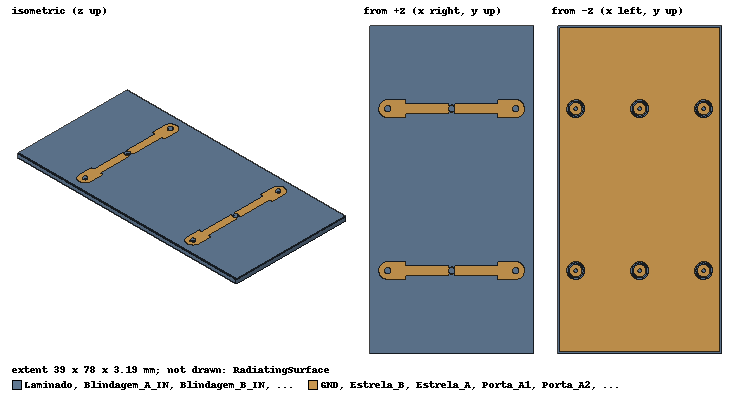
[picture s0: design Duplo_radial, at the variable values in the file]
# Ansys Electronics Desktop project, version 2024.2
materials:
  vacuum: permittivity=1
  ZYF255DA: permittivity=2.55 dielectric_loss_tangent=0.0018
  SAC305: permeability=1 conductivity=7575758
  PTFE_UT141: permittivity=2.036 dielectric_loss_tangent=0.0002
  copper: permeability=0.999991 conductivity=58000000

design Duplo_radial (HFSS, HFSS Hybrid Modal Network, model units mm)
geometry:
  Laminado [ZYF255DA] = box(corner=(-19.5mm, -39mm, 0mm), size=(39mm, 78mm, 1.52mm))
  GND = polyline(z=0mm, xy in mm: (-18.98, -38.48) (18.98, -38.48) (18.98, 38.48) (-18.98, 38.48) (-18.98, -38.48), closed, covered)
  Estrela_B = polyline(z=1.52mm, xy in mm: (-10.952, 21.3775) (-10.952, 20.4395) (-0.6, 20.4395) (-0.6, 19.86522572) (-0.52353483, 19.93228387) (-0.43, 19.99478185) (-0.32910775, 20.0445364) (-0.22258438, 20.08069621) (-0.11225253, 20.10264258) (0, 20.11) (0.11225253, 20.10264258) (0.22258438, 20.08069621) (0.32910775, 20.0445364) (0.43, 19.99478185) (0.52353483, 19.93228387) (0.6, 19.86522572) (0.6, 20.4395) (10.952, 20.4395) (10.952, 21.3775) (15.2, 21.3775) (15.47769447, 21.35929894) (15.75063752, 21.3050072) (16.014159, 21.21555371) (16.26375, 21.09246905) (16.49513994, 20.93785923) (16.70436968, 20.75436968) (16.88785923, 20.54513994) (17.04246905, 20.31375) (17.16555371, 20.064159) (17.2550072, 19.80063752) (17.30929894, 19.52769447) (17.3275, 19.25) (17.30929894, 18.97230553) (17.2550072, 18.69936248) (17.16555371, 18.435841) (17.04246905, 18.18625) (16.88785923, 17.95486006) (16.70436968, 17.74563032) (16.49513994, 17.56214077) (16.26375, 17.40753095) (16.014159, 17.28444629) (15.75063752, 17.1949928) (15.47769447, 17.14070106) (15.2, 17.1225) (10.952, 17.1225) (10.952, 18.0605) (0.6, 18.0605) (0.6, 18.63477428) (0.52353483, 18.56771613) (0.43, 18.50521815) (0.32910775, 18.4554636) (0.22258438, 18.41930379) (0.11225253, 18.39735742) (0, 18.39) (-0.11225253, 18.39735742) (-0.22258438, 18.41930379) (-0.32910775, 18.4554636) (-0.43, 18.50521815) (-0.52353483, 18.56771613) (-0.6, 18.63477428) (-0.6, 18.0605) (-10.952, 18.0605) (-10.952, 17.1225) (-15.2, 17.1225) (-15.47769447, 17.14070106) (-15.75063752, 17.1949928) (-16.014159, 17.28444629) (-16.26375, 17.40753095) (-16.49513994, 17.56214077) (-16.70436968, 17.74563032) (-16.88785923, 17.95486006) (-17.04246905, 18.18625) (-17.16555371, 18.435841) (-17.2550072, 18.69936248) (-17.30929894, 18.97230553) (-17.3275, 19.25) (-17.30929894, 19.52769447) (-17.2550072, 19.80063752) (-17.16555371, 20.064159) (-17.04246905, 20.31375) (-16.88785923, 20.54513994) (-16.70436968, 20.75436968) (-16.49513994, 20.93785923) (-16.26375, 21.09246905) (-16.014159, 21.21555371) (-15.75063752, 21.3050072) (-15.47769447, 21.35929894) (-15.2, 21.3775) (-15.2, 21.3775) (-10.952, 21.3775), closed, covered)
  Estrela_A = polyline(z=1.52mm, xy in mm: (-15.47769447, -21.35929894) (-15.75063752, -21.3050072) (-16.014159, -21.21555371) (-16.26375, -21.09246905) (-16.49513994, -20.93785923) (-16.70436968, -20.75436968) (-16.88785923, -20.54513994) (-17.04246905, -20.31375) (-17.16555371, -20.064159) (-17.2550072, -19.80063752) (-17.30929894, -19.52769447) (-17.3275, -19.25) (-17.30929894, -18.97230553) (-17.2550072, -18.69936248) (-17.16555371, -18.435841) (-17.04246905, -18.18625) (-16.88785923, -17.95486006) (-16.70436968, -17.74563032) (-16.49513994, -17.56214077) (-16.26375, -17.40753095) (-16.014159, -17.28444629) (-15.75063752, -17.1949928) (-15.47769447, -17.14070106) (-15.2, -17.1225) (-10.952, -17.1225) (-10.952, -18.0605) (-0.6, -18.0605) (-0.6, -18.63477428) (-0.52353483, -18.56771613) (-0.43, -18.50521815) (-0.32910775, -18.4554636) (-0.22258438, -18.41930379) (-0.11225253, -18.39735742) (0, -18.39) (0.11225253, -18.39735742) (0.22258438, -18.41930379) (0.32910775, -18.4554636) (0.43, -18.50521815) (0.52353483, -18.56771613) (0.6, -18.63477428) (0.6, -18.0605) (10.952, -18.0605) (10.952, -17.1225) (15.2, -17.1225) (15.47769447, -17.14070106) (15.75063752, -17.1949928) (16.014159, -17.28444629) (16.26375, -17.40753095) (16.49513994, -17.56214077) (16.70436968, -17.74563032) (16.88785923, -17.95486006) (17.04246905, -18.18625) (17.16555371, -18.435841) (17.2550072, -18.69936248) (17.30929894, -18.97230553) (17.3275, -19.25) (17.30929894, -19.52769447) (17.2550072, -19.80063752) (17.16555371, -20.064159) (17.04246905, -20.31375) (16.88785923, -20.54513994) (16.70436968, -20.75436968) (16.49513994, -20.93785923) (16.26375, -21.09246905) (16.014159, -21.21555371) (15.75063752, -21.3050072) (15.47769447, -21.35929894) (15.2, -21.3775) (10.952, -21.3775) (10.952, -20.4395) (0.6, -20.4395) (0.6, -19.86522572) (0.52353483, -19.93228387) (0.43, -19.99478185) (0.32910775, -20.0445364) (0.22258438, -20.08069621) (0.11225253, -20.10264258) (0, -20.11) (-0.11225253, -20.10264258) (-0.22258438, -20.08069621) (-0.32910775, -20.0445364) (-0.43, -19.99478185) (-0.52353483, -19.93228387) (-0.6, -19.86522572) (-0.6, -20.4395) (-10.952, -20.4395) (-10.952, -21.3775) (-15.2, -21.3775) (-15.2, -21.3775) (-15.47769447, -21.35929894), closed, covered)
  Abertura_A_IN = circle(normal=Z, centre=(0mm, -19.25mm, 0mm), radius=1.515mm, segments=24)
  Pino_A_IN [copper] = cylinder(axis=Z, base_centre=(0mm, -19.25mm, 0mm), radius=0.525mm, height=1.52mm, segments=24)
  Anel_A_IN = circle(normal=Z, centre=(0mm, -19.25mm, 0mm), radius=0.73mm, segments=24)
  Blindagem_A_IN [copper] = cylinder(axis=Z, base_centre=(0mm, -19.25mm, -1.5mm), radius=1.7905mm, height=1.5mm, segments=24)
  PTFE_A_IN [PTFE_UT141] = cylinder(axis=Z, base_centre=(0mm, -19.25mm, -1.5mm), radius=1.515mm, height=1.5mm, segments=24)
  PTFE_A_IN_1 = PTFE_A_IN.copy()
  Blindagem_A_IN.subtract(PTFE_A_IN_1)
  Central_A_IN [copper] = cylinder(axis=Z, base_centre=(0mm, -19.25mm, -1.5mm), radius=0.45975mm, height=1.5mm, segments=24)
  Central_A_IN_1 = Central_A_IN.copy()
  PTFE_A_IN.subtract(Central_A_IN_1)
  Solda_ext_A_IN [SAC305] = cylinder(axis=Z, base_centre=(0mm, -19.25mm, -0.18mm), radius=2.13mm, height=0.18mm, segments=24)
  Recorte_ext_A_IN = cylinder(axis=Z, base_centre=(0mm, -19.25mm, -0.18mm), radius=1.7905mm, height=0.18mm, segments=24)
  Solda_ext_A_IN.subtract(Recorte_ext_A_IN)
  Solda_top_A_IN [SAC305] = cylinder(axis=Z, base_centre=(0mm, -19.25mm, 1.52mm), radius=0.74mm, height=0.17mm, segments=24)
  Abertura_A1 = circle(normal=Z, centre=(-15.2mm, -19.25mm, 0mm), radius=1.515mm, segments=24)
  Pino_A1 [copper] = cylinder(axis=Z, base_centre=(-15.2mm, -19.25mm, 0mm), radius=0.525mm, height=1.52mm, segments=24)
  Anel_A1 = circle(normal=Z, centre=(-15.2mm, -19.25mm, 0mm), radius=0.73mm, segments=24)
  Blindagem_A1 [copper] = cylinder(axis=Z, base_centre=(-15.2mm, -19.25mm, -1.5mm), radius=1.7905mm, height=1.5mm, segments=24)
  PTFE_A1 [PTFE_UT141] = cylinder(axis=Z, base_centre=(-15.2mm, -19.25mm, -1.5mm), radius=1.515mm, height=1.5mm, segments=24)
  PTFE_A1_1 = PTFE_A1.copy()
  Blindagem_A1.subtract(PTFE_A1_1)
  Central_A1 [copper] = cylinder(axis=Z, base_centre=(-15.2mm, -19.25mm, -1.5mm), radius=0.45975mm, height=1.5mm, segments=24)
  Central_A1_1 = Central_A1.copy()
  PTFE_A1.subtract(Central_A1_1)
  Solda_ext_A1 [SAC305] = cylinder(axis=Z, base_centre=(-15.2mm, -19.25mm, -0.18mm), radius=2.13mm, height=0.18mm, segments=24)
  Recorte_ext_A1 = cylinder(axis=Z, base_centre=(-15.2mm, -19.25mm, -0.18mm), radius=1.7905mm, height=0.18mm, segments=24)
  Solda_ext_A1.subtract(Recorte_ext_A1)
  Solda_top_A1 [SAC305] = cylinder(axis=Z, base_centre=(-15.2mm, -19.25mm, 1.52mm), radius=0.74mm, height=0.17mm, segments=24)
  Abertura_A2 = circle(normal=Z, centre=(15.2mm, -19.25mm, 0mm), radius=1.515mm, segments=24)
  Pino_A2 [copper] = cylinder(axis=Z, base_centre=(15.2mm, -19.25mm, 0mm), radius=0.525mm, height=1.52mm, segments=24)
  Anel_A2 = circle(normal=Z, centre=(15.2mm, -19.25mm, 0mm), radius=0.73mm, segments=24)
  Blindagem_A2 [copper] = cylinder(axis=Z, base_centre=(15.2mm, -19.25mm, -1.5mm), radius=1.7905mm, height=1.5mm, segments=24)
  PTFE_A2 [PTFE_UT141] = cylinder(axis=Z, base_centre=(15.2mm, -19.25mm, -1.5mm), radius=1.515mm, height=1.5mm, segments=24)
  PTFE_A2_1 = PTFE_A2.copy()
  Blindagem_A2.subtract(PTFE_A2_1)
  Central_A2 [copper] = cylinder(axis=Z, base_centre=(15.2mm, -19.25mm, -1.5mm), radius=0.45975mm, height=1.5mm, segments=24)
  Central_A2_1 = Central_A2.copy()
  PTFE_A2.subtract(Central_A2_1)
  Solda_ext_A2 [SAC305] = cylinder(axis=Z, base_centre=(15.2mm, -19.25mm, -0.18mm), radius=2.13mm, height=0.18mm, segments=24)
  Recorte_ext_A2 = cylinder(axis=Z, base_centre=(15.2mm, -19.25mm, -0.18mm), radius=1.7905mm, height=0.18mm, segments=24)
  Solda_ext_A2.subtract(Recorte_ext_A2)
  Solda_top_A2 [SAC305] = cylinder(axis=Z, base_centre=(15.2mm, -19.25mm, 1.52mm), radius=0.74mm, height=0.17mm, segments=24)
  Abertura_B_IN = circle(normal=Z, centre=(0mm, 19.25mm, 0mm), radius=1.515mm, segments=24)
  Pino_B_IN [copper] = cylinder(axis=Z, base_centre=(0mm, 19.25mm, 0mm), radius=0.525mm, height=1.52mm, segments=24)
  Anel_B_IN = circle(normal=Z, centre=(0mm, 19.25mm, 0mm), radius=0.73mm, segments=24)
  Blindagem_B_IN [copper] = cylinder(axis=Z, base_centre=(0mm, 19.25mm, -1.5mm), radius=1.7905mm, height=1.5mm, segments=24)
  PTFE_B_IN [PTFE_UT141] = cylinder(axis=Z, base_centre=(0mm, 19.25mm, -1.5mm), radius=1.515mm, height=1.5mm, segments=24)
  PTFE_B_IN_1 = PTFE_B_IN.copy()
  Blindagem_B_IN.subtract(PTFE_B_IN_1)
  Central_B_IN [copper] = cylinder(axis=Z, base_centre=(0mm, 19.25mm, -1.5mm), radius=0.45975mm, height=1.5mm, segments=24)
  Central_B_IN_1 = Central_B_IN.copy()
  PTFE_B_IN.subtract(Central_B_IN_1)
  Solda_ext_B_IN [SAC305] = cylinder(axis=Z, base_centre=(0mm, 19.25mm, -0.18mm), radius=2.13mm, height=0.18mm, segments=24)
  Recorte_ext_B_IN = cylinder(axis=Z, base_centre=(0mm, 19.25mm, -0.18mm), radius=1.7905mm, height=0.18mm, segments=24)
  Solda_ext_B_IN.subtract(Recorte_ext_B_IN)
  Solda_top_B_IN [SAC305] = cylinder(axis=Z, base_centre=(0mm, 19.25mm, 1.52mm), radius=0.74mm, height=0.17mm, segments=24)
  Abertura_B1 = circle(normal=Z, centre=(-15.2mm, 19.25mm, 0mm), radius=1.515mm, segments=24)
  Pino_B1 [copper] = cylinder(axis=Z, base_centre=(-15.2mm, 19.25mm, 0mm), radius=0.525mm, height=1.52mm, segments=24)
  Anel_B1 = circle(normal=Z, centre=(-15.2mm, 19.25mm, 0mm), radius=0.73mm, segments=24)
  Blindagem_B1 [copper] = cylinder(axis=Z, base_centre=(-15.2mm, 19.25mm, -1.5mm), radius=1.7905mm, height=1.5mm, segments=24)
  PTFE_B1 [PTFE_UT141] = cylinder(axis=Z, base_centre=(-15.2mm, 19.25mm, -1.5mm), radius=1.515mm, height=1.5mm, segments=24)
  PTFE_B1_1 = PTFE_B1.copy()
  Blindagem_B1.subtract(PTFE_B1_1)
  Central_B1 [copper] = cylinder(axis=Z, base_centre=(-15.2mm, 19.25mm, -1.5mm), radius=0.45975mm, height=1.5mm, segments=24)
  Central_B1_1 = Central_B1.copy()
  PTFE_B1.subtract(Central_B1_1)
  Solda_ext_B1 [SAC305] = cylinder(axis=Z, base_centre=(-15.2mm, 19.25mm, -0.18mm), radius=2.13mm, height=0.18mm, segments=24)
  Recorte_ext_B1 = cylinder(axis=Z, base_centre=(-15.2mm, 19.25mm, -0.18mm), radius=1.7905mm, height=0.18mm, segments=24)
  Solda_ext_B1.subtract(Recorte_ext_B1)
  Solda_top_B1 [SAC305] = cylinder(axis=Z, base_centre=(-15.2mm, 19.25mm, 1.52mm), radius=0.74mm, height=0.17mm, segments=24)
  Abertura_B2 = circle(normal=Z, centre=(15.2mm, 19.25mm, 0mm), radius=1.515mm, segments=24)
  Pino_B2 [copper] = cylinder(axis=Z, base_centre=(15.2mm, 19.25mm, 0mm), radius=0.525mm, height=1.52mm, segments=24)
  Anel_B2 = circle(normal=Z, centre=(15.2mm, 19.25mm, 0mm), radius=0.73mm, segments=24)
  Blindagem_B2 [copper] = cylinder(axis=Z, base_centre=(15.2mm, 19.25mm, -1.5mm), radius=1.7905mm, height=1.5mm, segments=24)
  PTFE_B2 [PTFE_UT141] = cylinder(axis=Z, base_centre=(15.2mm, 19.25mm, -1.5mm), radius=1.515mm, height=1.5mm, segments=24)
  PTFE_B2_1 = PTFE_B2.copy()
  Blindagem_B2.subtract(PTFE_B2_1)
  Central_B2 [copper] = cylinder(axis=Z, base_centre=(15.2mm, 19.25mm, -1.5mm), radius=0.45975mm, height=1.5mm, segments=24)
  Central_B2_1 = Central_B2.copy()
  PTFE_B2.subtract(Central_B2_1)
  Solda_ext_B2 [SAC305] = cylinder(axis=Z, base_centre=(15.2mm, 19.25mm, -0.18mm), radius=2.13mm, height=0.18mm, segments=24)
  Recorte_ext_B2 = cylinder(axis=Z, base_centre=(15.2mm, 19.25mm, -0.18mm), radius=1.7905mm, height=0.18mm, segments=24)
  Solda_ext_B2.subtract(Recorte_ext_B2)
  Solda_top_B2 [SAC305] = cylinder(axis=Z, base_centre=(15.2mm, 19.25mm, 1.52mm), radius=0.74mm, height=0.17mm, segments=24)
  GND.subtract(Abertura_A_IN, Abertura_A1, Abertura_A2, Abertura_B_IN, Abertura_B1, Abertura_B2)
  Pino_A_IN_1 = Pino_A_IN.copy()
  Pino_A1_1 = Pino_A1.copy()
  Pino_A2_1 = Pino_A2.copy()
  Pino_B_IN_1 = Pino_B_IN.copy()
  Pino_B1_1 = Pino_B1.copy()
  Pino_B2_1 = Pino_B2.copy()
  Laminado.subtract(Pino_A_IN_1, Pino_A1_1, Pino_A2_1, Pino_B_IN_1, Pino_B1_1, Pino_B2_1)
  Porta_A_IN = circle(normal=Z, centre=(0mm, -19.25mm, -1.5mm), radius=1.515mm, segments=24)
  Buraco_A_IN = circle(normal=Z, centre=(0mm, -19.25mm, -1.5mm), radius=0.45975mm, segments=24)
  Porta_A_IN.subtract(Buraco_A_IN)
  Porta_A1 = circle(normal=Z, centre=(-15.2mm, -19.25mm, -1.5mm), radius=1.515mm, segments=24)
  Buraco_A1 = circle(normal=Z, centre=(-15.2mm, -19.25mm, -1.5mm), radius=0.45975mm, segments=24)
  Porta_A1.subtract(Buraco_A1)
  Porta_A2 = circle(normal=Z, centre=(15.2mm, -19.25mm, -1.5mm), radius=1.515mm, segments=24)
  Buraco_A2 = circle(normal=Z, centre=(15.2mm, -19.25mm, -1.5mm), radius=0.45975mm, segments=24)
  Porta_A2.subtract(Buraco_A2)
  Porta_B_IN = circle(normal=Z, centre=(0mm, 19.25mm, -1.5mm), radius=1.515mm, segments=24)
  Buraco_B_IN = circle(normal=Z, centre=(0mm, 19.25mm, -1.5mm), radius=0.45975mm, segments=24)
  Porta_B_IN.subtract(Buraco_B_IN)
  Porta_B1 = circle(normal=Z, centre=(-15.2mm, 19.25mm, -1.5mm), radius=1.515mm, segments=24)
  Buraco_B1 = circle(normal=Z, centre=(-15.2mm, 19.25mm, -1.5mm), radius=0.45975mm, segments=24)
  Porta_B1.subtract(Buraco_B1)
  Porta_B2 = circle(normal=Z, centre=(15.2mm, 19.25mm, -1.5mm), radius=1.515mm, segments=24)
  Buraco_B2 = circle(normal=Z, centre=(15.2mm, 19.25mm, -1.5mm), radius=0.45975mm, segments=24)
  Porta_B2.subtract(Buraco_B2)
  RadiatingSurface [vacuum] = region(absolute_offset=19.646365mm on all sides)
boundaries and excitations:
  Cobre_35um: Finite Conductivity Objects=[GND, Estrela_B, Estrela_A, Anel_A_IN, Anel_A1, Anel_A2, Anel_B_IN, Anel_B1, Anel_B2] UseMaterial Material=copper Thickness=0.035mm Roughness=0.5um IsInternal
  Open1: Radiation Objects=RadiatingSurface
  A_IN: Lumped Port Objects=Porta_A_IN LumpedPortType=Modal Modes{Mode1{IntLine{(0.45975, -19.25, -1.5) -> (1.515, -19.25, -1.5)} CharImp=Zpi RenormImp=50ohm}} Impedance=50ohm
  A1: Lumped Port Objects=Porta_A1 LumpedPortType=Modal Modes{Mode1{IntLine{(-14.74025, -19.25, -1.5) -> (-13.685, -19.25, -1.5)} CharImp=Zpi RenormImp=50ohm}} Impedance=50ohm
  A2: Lumped Port Objects=Porta_A2 LumpedPortType=Modal Modes{Mode1{IntLine{(15.65975, -19.25, -1.5) -> (16.715, -19.25, -1.5)} CharImp=Zpi RenormImp=50ohm}} Impedance=50ohm
  B_IN: Lumped Port Objects=Porta_B_IN LumpedPortType=Modal Modes{Mode1{IntLine{(0.45975, 19.25, -1.5) -> (1.515, 19.25, -1.5)} CharImp=Zpi RenormImp=50ohm}} Impedance=50ohm
  B1: Lumped Port Objects=Porta_B1 LumpedPortType=Modal Modes{Mode1{IntLine{(-14.74025, 19.25, -1.5) -> (-13.685, 19.25, -1.5)} CharImp=Zpi RenormImp=50ohm}} Impedance=50ohm
  B2: Lumped Port Objects=Porta_B2 LumpedPortType=Modal Modes{Mode1{IntLine{(15.65975, 19.25, -1.5) -> (16.715, 19.25, -1.5)} CharImp=Zpi RenormImp=50ohm}} Impedance=50ohm
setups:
  Divisor: HfssDriven Frequency=5.17GHz MaxDeltaS=0.012 MaximumPasses=16 MinimumPasses=3 MinimumConvergedPasses=2 PercentRefinement=24 BasisOrder=1 PortAccuracy=2 DrivenSolverType="Direct Solver"
    sweep Banda: 5090MHz to 5250MHz step 10MHz; Type=Discrete
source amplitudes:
  A_IN:1: 1W 0deg
  A1:1, A2:1, B_IN:1, B1:1, B2:1: 0W 0deg
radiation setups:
  3D: Infinite Sphere Theta=0deg..180deg step 2deg Phi=-180deg..180deg step 2deg
  Elevation: Infinite Sphere Theta=-180deg..180deg step 1deg Phi=0deg..90deg step 90deg
  Azimuth: Infinite Sphere Theta=90deg..90deg step 0deg Phi=-180deg..180deg step 1deg
